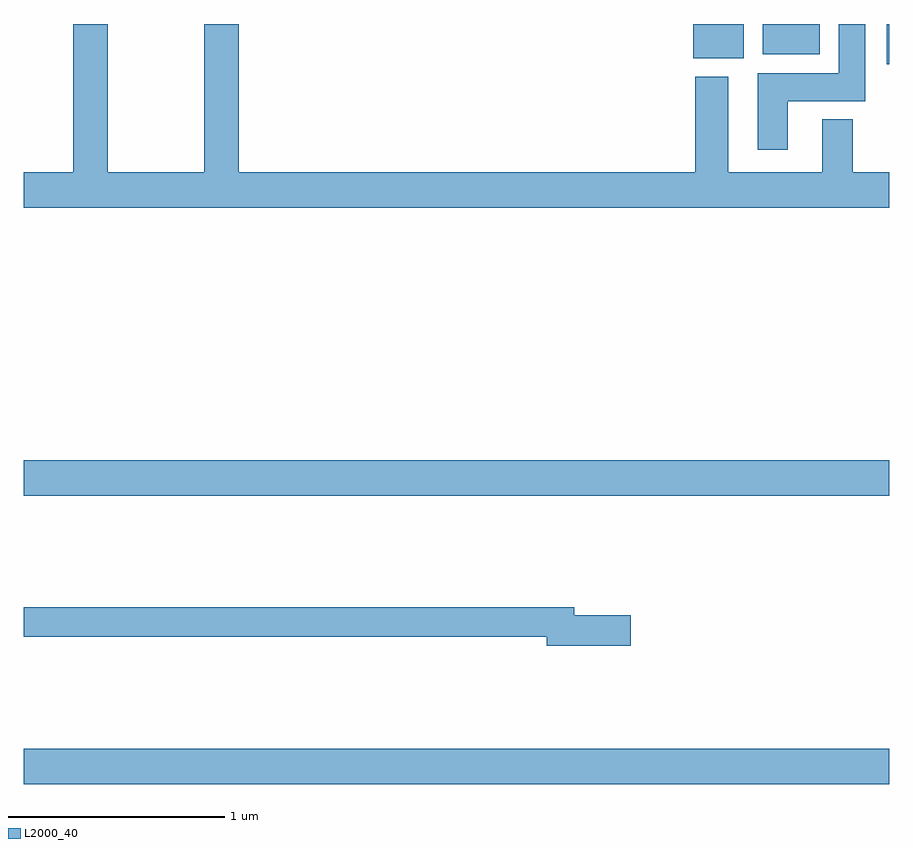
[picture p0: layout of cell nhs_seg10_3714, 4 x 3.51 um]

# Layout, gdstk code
import gdstk
lib = gdstk.Library(unit=1e-6, precision=1e-09)
def R(c, l, rs):  # rectangles x0, y0, x1, y1
    for r in rs: c.add(gdstk.rectangle(r[:2], r[2:], *l))
def P(c, l, *ps):  # polygons
    for p in ps: c.add(gdstk.Polygon(p, *l))
L2000_40 = (2000, 40)

nhs_seg10_3714 = lib.new_cell('nhs_seg10_3714')
R(nhs_seg10_3714, L2000_40, [(313,1294.988,317,1295.152), (313,1296.32,317,1296.484), (316.988,1298.313,317,1298.5), (316.094,1298.342,316.327,1298.5), (316.415,1298.36,316.678,1298.5)])
P(nhs_seg10_3714, L2000_40, [(317,1297.816),(316.831,1297.816),(316.831,1298.059),(316.691,1298.059),(316.691,1297.816),(316.255,1297.816),(316.255,1298.257),(316.103,1298.257),(316.103,1297.816),(313.994,1297.816),(313.994,1298.5),(313.834,1298.5),(313.834,1297.816),(313.389,1297.816),(313.389,1298.5),(313.229,1298.5),(313.229,1297.816),(313,1297.816),(313,1297.652),(317,1297.652)],
  [(316.531,1298.144),(316.888,1298.144),(316.888,1298.5),(316.766,1298.5),(316.766,1298.272),(316.391,1298.272),(316.391,1297.92),(316.531,1297.92)],
  [(315.805,1295.768),(315.544,1295.768),(315.544,1295.804),(313,1295.804),(313,1295.668),(315.416,1295.668),(315.416,1295.626),(315.805,1295.626)])

lib.write_gds('nhs_seg10_3714.gds')
